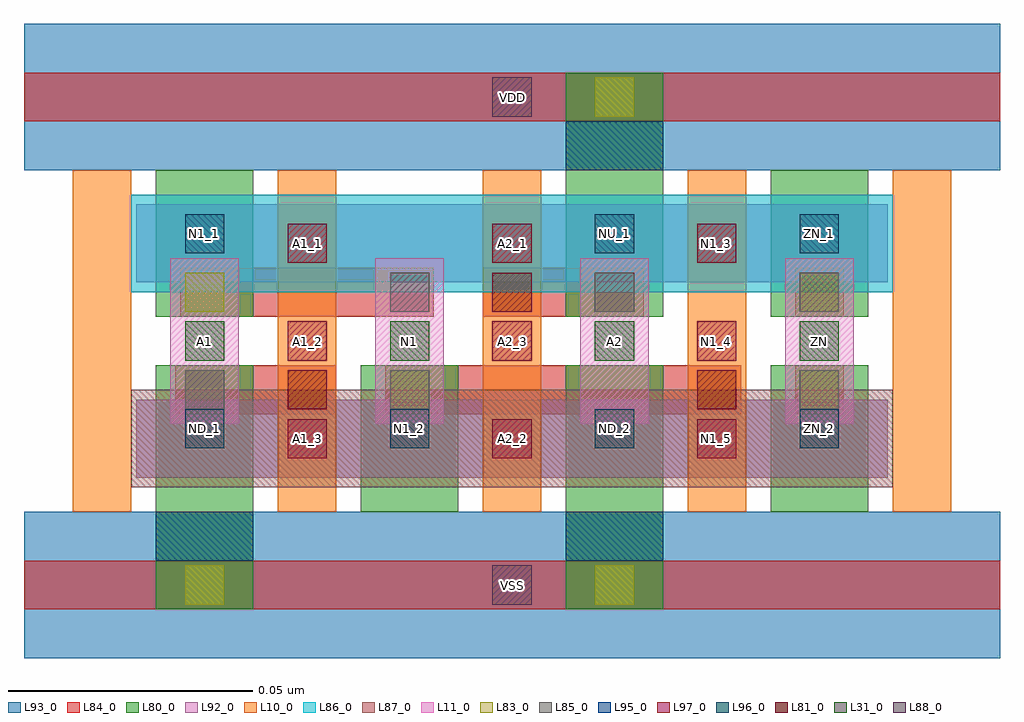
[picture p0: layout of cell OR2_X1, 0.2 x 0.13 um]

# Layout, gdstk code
import gdstk
lib = gdstk.Library(unit=1e-6, precision=1e-09)
def R(c, l, rs):  # rectangles x0, y0, x1, y1
    for r in rs: c.add(gdstk.rectangle(r[:2], r[2:], *l))
def A(c, l, x, y, w, h, nx, ny, dx, dy):  # array of equal rectangles
    R(c, l, [(x+i*dx, y+j*dy, x+i*dx+w, y+j*dy+h) for i in range(nx) for j in range(ny)])
L10_0 = (10, 0)
L11_0 = (11, 0)
L31_0 = (31, 0)
L80_0 = (80, 0)
L81_0 = (81, 0)
L83_0 = (83, 0)
L84_0 = (84, 0)
L85_0 = (85, 0)
L86_0 = (86, 0)
L87_0 = (87, 0)
L88_0 = (88, 0)
L92_0 = (92, 0)
L93_0 = (93, 0)
L95_0 = (95, 0)
L96_0 = (96, 0)
L97_0 = (97, 0)

or2_x1 = lib.new_cell('OR2_X1')
A(or2_x1, L10_0, -0.027, 0.015, 0.012, 0.07, 5, 1, 0.042, 0)
A(or2_x1, L11_0, 0.035, 0.033, 0.014, 0.034, 3, 1, 0.042, 0)
R(or2_x1, L11_0, [(-0.007,0.033,0.007,0.067), (0.035,0.033,0.049,0.067), (0.119,0.033,0.133,0.067)])
A(or2_x1, L31_0, -0.004, 0.046, 0.008, 0.008, 4, 1, 0.042, 0)
A(or2_x1, L80_0, -0.01, 0.015, 0.02, 0.03, 4, 1, 0.042, 0)
R(or2_x1, L80_0, [(-0.01,-0.005,0.01,0.025), (0.074,-0.005,0.094,0.025), (-0.01,0.055,0.01,0.085), (0.074,0.055,0.094,0.085), (0.116,0.055,0.136,0.085), (0.074,0.075,0.094,0.105)])
R(or2_x1, L81_0, [(0.017,0.036,0.025,0.044), (0.101,0.036,0.109,0.044), (0.101,0.036,0.109,0.044), (0.059,0.056,0.067,0.064)])
R(or2_x1, L83_0, [(-0.004,-0.004,0.004,0.004), (0.08,-0.004,0.088,0.004), (0.038,0.036,0.046,0.044), (0.038,0.036,0.046,0.044), (0.122,0.036,0.13,0.044), (0.122,0.036,0.13,0.044), (-0.004,0.056,0.004,0.064), (-0.004,0.056,0.004,0.064), (0.122,0.056,0.13,0.064), (0.122,0.056,0.13,0.064), (0.08,0.096,0.088,0.104)])
R(or2_x1, L84_0, [(-0.037,-0.005,0.163,0.005), (-0.006,0.035,0.027,0.045), (0.037,0.035,0.068,0.045), (0.037,0.035,0.068,0.045), (0.058,0.035,0.089,0.045), (0.058,0.035,0.089,0.045), (0.079,0.035,0.11,0.045), (0.079,0.035,0.11,0.045), (0.121,0.035,0.131,0.045), (0.121,0.035,0.131,0.045), (-0.005,0.055,0.026,0.065), (-0.005,0.055,0.026,0.065), (0.016,0.055,0.047,0.065), (0.016,0.055,0.047,0.065), (0.057,0.055,0.09,0.065), (0.121,0.055,0.131,0.065), (0.121,0.055,0.131,0.065), (-0.037,0.095,0.163,0.105)])
A(or2_x1, L85_0, 0.038, 0.056, 0.008, 0.008, 3, 1, 0.042, 0)
R(or2_x1, L85_0, [(-0.004,0.036,0.004,0.044), (0.038,0.036,0.046,0.044), (0.038,0.036,0.046,0.044), (0.122,0.036,0.13,0.044), (0.122,0.036,0.13,0.044), (0.038,0.056,0.046,0.064), (0.122,0.056,0.13,0.064)])
R(or2_x1, L86_0, [(-0.015,0.06,0.141,0.08)])
R(or2_x1, L87_0, [(-0.015,0.02,0.141,0.04)])
R(or2_x1, L88_0, [(0.059,-0.004,0.067,0.004), (0.059,0.096,0.067,0.104)])
R(or2_x1, L92_0, [(-0.014,0.022,0.14,0.038), (-0.014,0.062,0.14,0.078)])
R(or2_x1, L93_0, [(-0.037,-0.015,0.163,0.015), (-0.037,0.085,0.163,0.115)])
R(or2_x1, L95_0, [(-0.01,0.005,0.01,0.015), (0.074,0.005,0.094,0.015), (0.074,0.085,0.094,0.095)])
A(or2_x1, L96_0, -0.004, 0.028, 0.008, 0.008, 4, 1, 0.042, 0)
R(or2_x1, L96_0, [(-0.004,0.068,0.004,0.076), (0.08,0.068,0.088,0.076), (0.122,0.068,0.13,0.076)])
A(or2_x1, L97_0, 0.017, 0.026, 0.008, 0.008, 3, 3, 0.042, 0.02)
or2_x1.add(gdstk.Label('A1_2', (0.021,0.05), layer=97, texttype=0))
or2_x1.add(gdstk.Label('A2_3', (0.063,0.05), layer=97, texttype=0))
or2_x1.add(gdstk.Label('N1_4', (0.105,0.05), layer=97, texttype=0))
or2_x1.add(gdstk.Label('A1_1', (0.021,0.07), layer=97, texttype=0))
or2_x1.add(gdstk.Label('A1_3', (0.021,0.03), layer=97, texttype=0))
or2_x1.add(gdstk.Label('N1_3', (0.105,0.07), layer=97, texttype=0))
or2_x1.add(gdstk.Label('N1_5', (0.105,0.03), layer=97, texttype=0))
or2_x1.add(gdstk.Label('A2_2', (0.063,0.03), layer=97, texttype=0))
or2_x1.add(gdstk.Label('A2_1', (0.063,0.07), layer=97, texttype=0))
or2_x1.add(gdstk.Label('ND_1', (0,0.032), layer=96, texttype=0))
or2_x1.add(gdstk.Label('N1_1', (0,0.072), layer=96, texttype=0))
or2_x1.add(gdstk.Label('NU_1', (0.084,0.072), layer=96, texttype=0))
or2_x1.add(gdstk.Label('ZN_2', (0.126,0.032), layer=96, texttype=0))
or2_x1.add(gdstk.Label('ND_2', (0.084,0.032), layer=96, texttype=0))
or2_x1.add(gdstk.Label('ZN_1', (0.126,0.072), layer=96, texttype=0))
or2_x1.add(gdstk.Label('N1_2', (0.042,0.032), layer=96, texttype=0))
or2_x1.add(gdstk.Label('VDD', (0.063,0.1), layer=88, texttype=0))
or2_x1.add(gdstk.Label('VSS', (0.063,0), layer=88, texttype=0))
or2_x1.add(gdstk.Label('N1', (0.042,0.05), layer=31, texttype=0))
or2_x1.add(gdstk.Label('A1', (0,0.05), layer=31, texttype=0))
or2_x1.add(gdstk.Label('A2', (0.084,0.05), layer=31, texttype=0))
or2_x1.add(gdstk.Label('ZN', (0.126,0.05), layer=31, texttype=0))

lib.write_gds('OR2_X1.gds')
